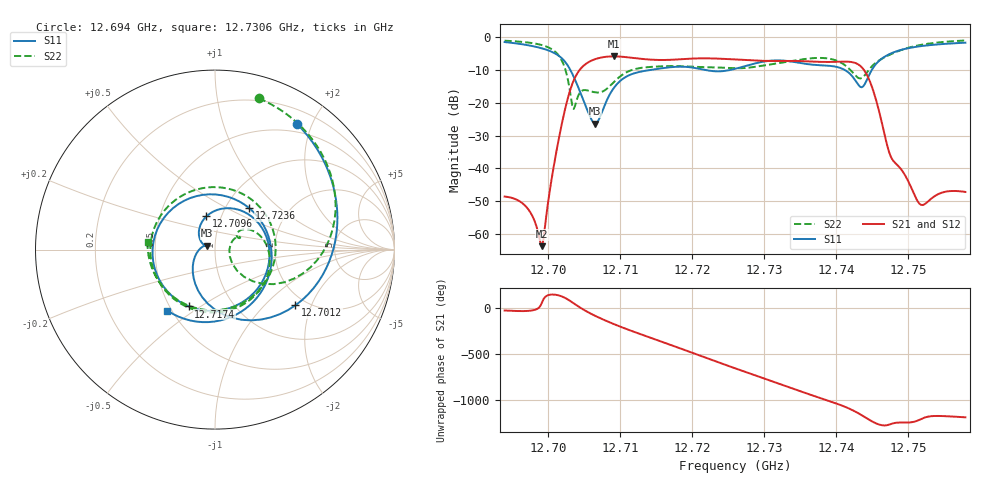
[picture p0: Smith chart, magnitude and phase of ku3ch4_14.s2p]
#  HZ  S  RI  R  50.00
! Rohde & Schwarz ZVA50 2Ports - Version 3.70 - 1145.1110k50 SN: 100192
! Date: 2025-10-24 10:54:37
! Measurements: S11 S21 S12 S22
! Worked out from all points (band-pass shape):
!   321 points, 12.694 GHz to 12.758 GHz, reference 50 ohm
!   highest |S21| = -5.91 dB at 12.7092 GHz (marker M1); lowest = -63.6 dB at 12.6992 GHz (marker M2)
!   |S21| within 3 dB of the highest: 12.70489 GHz to 12.74345 GHz (38.56 MHz wide, 0.303 % of centre)
!   lowest |S11| = -26.4 dB at 12.7066 GHz (marker M3), VSWR 1.10, Z = 45.8 + j1.95 ohm
!   |S11| at or under -10 dB: 12.70312 GHz to 12.71437 GHz (11.25 MHz wide, 0.0886 % of centre); 12.72175 GHz to 12.72544 GHz (3.685 MHz wide, 0.029 % of centre); 12.74121 GHz to 12.74501 GHz (3.8 MHz wide, 0.0298 % of centre)
!   |S22| runs from -21.9 to -1.1 dB; largest |S21 - S12| = 0.0085
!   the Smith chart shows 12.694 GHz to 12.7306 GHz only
!   S11 on the Smith chart (normalised r, x): 12.694 GHz: 0.38, +1.78; 12.7012 GHz: 1.75, -1.55; 12.7096 GHz: 0.85, +0.33; 12.7174 GHz: 0.62, -0.45; 12.7236 GHz: 1.28, +0.65; 12.7306 GHz: 0.47, -0.40
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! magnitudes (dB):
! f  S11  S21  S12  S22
! 12.694 GHz  -1.6  -48.6  -48.4  -1.1
! 12.6972 GHz  -2.5  -52.2  -52.1  -1.7
! 12.6992 GHz  -3.5  -63.6  -63.5  -2.5
! 12.7012 GHz  -5.3  -34.8  -34.7  -4.8
! 12.7024 GHz  -7.6  -21.9  -21.8  -9.7
! 12.7036 GHz  -12.1  -13.2  -13.1  -21.9
! 12.7048 GHz  -18.5  -9.1  -9.0  -16.3
! 12.7066 GHz  -26.4  -6.7  -6.6  -16.9
! 12.7092 GHz  -15.4  -5.9  -5.8  -13.7
! 12.7096 GHz  -14.4  -5.9  -5.8  -12.8
! 12.7154 GHz  -9.7  -7.0  -6.9  -9.0
! 12.7174 GHz  -9.1  -6.9  -6.8  -8.9
! 12.7236 GHz  -10.5  -6.6  -6.5  -9.3
! 12.726 GHz  -9.7  -6.8  -6.7  -9.5
! 12.7306 GHz  -7.3  -7.3  -7.2  -8.4
! 12.7368 GHz  -8.4  -7.5  -7.4  -6.5
! 12.741 GHz  -9.8  -7.5  -7.4  -8.2
! 12.7438 GHz  -15.1  -9.7  -9.6  -12.2
! 12.7454 GHz  -8.7  -17.7  -17.6  -8.1
! 12.7474 GHz  -5.3  -35.0  -34.9  -5.5
! 12.7518 GHz  -2.8  -51.0  -50.9  -2.4
! 12.758 GHz  -1.7  -47.2  -47.1  -1.1
